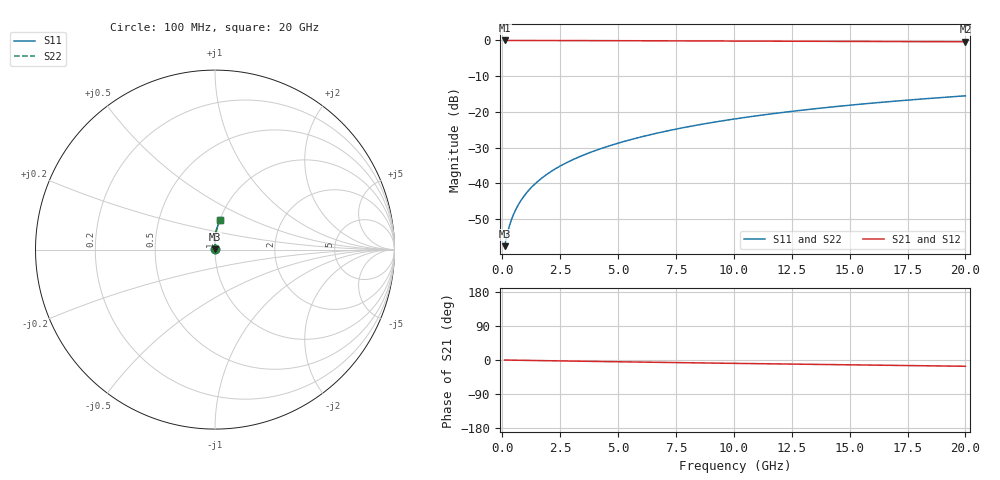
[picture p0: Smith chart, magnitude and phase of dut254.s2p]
! Touchstone file exported from HFSS 2024.1.0
!  File:  C:/UserFiles/LocalFiles/RDL_TSV_Batchsim/temp_RDL_top_254_1778689042.aedt
!  Generated:  12:19:25 AM May 14, 2026
!  Design:  RDL_top
!  Project:  temp_RDL_top_254_1778689042
!  Setup:  Setup1
!  Solution:  Sweep
! Variables:
!  dtsv = 10.80580581um
!  hbump = 3um
!  htsv = 54.81um
!  ldown = 100um
!  lrdl = 221.1um
!  p = 40
!  p1 = 47.4um
!  rhole = 1um
!  t = 450um
!  tdown = 3.915915916um
!  trdl = 3.8um
!  wdown = 15.38538539um
!  wrdl = 24.26um
# GHz S MA R 50.000000
! Terminal data exported
! Port[1] = Box2_T1
! Port[2] = Box2_T2
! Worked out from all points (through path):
!   200 points, 100 MHz to 20 GHz, reference 50 ohm
!   highest |S21| = -0.01 dB at 100 MHz (marker M1); lowest = -0.4 dB at 20 GHz (marker M2)
!   group delay of S21, straight-line fit = 2.27 ps
!   lowest |S11| = -57.6 dB at 100 MHz (marker M3), VSWR 1.00, Z = 50.1 + j0.0773 ohm
!   |S11| at or under -10 dB: start of sweep to end of sweep
!   |S22| runs from -57.6 to -15.5 dB; largest |S21 - S12| = 3.1e-15
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0.1  0.001315 35.9  0.9989 -0.1  0.9989 -0.1  0.001315 35.9
! Gamma 0 0 0 0
! Port Impedance 50 0 50 0
0.2  0.001876 53.2  0.9989 -0.2  0.9989 -0.2  0.001876 53.2
0.3  0.002493 61.8  0.9988 -0.3  0.9988 -0.3  0.002493 61.8
0.4  0.003119 67.1  0.9987 -0.4  0.9987 -0.4  0.003119 67.1
0.5  0.003753 70.8  0.9986 -0.5  0.9986 -0.5  0.003753 70.8
0.6  0.004393 73.6  0.9986 -0.6  0.9986 -0.6  0.004393 73.6
0.8  0.005695 77.5  0.9984 -0.8  0.9984 -0.8  0.005695 77.5
1.1  0.007689 81.2  0.9982 -1.1  0.9982 -1.1  0.007689 81.2
1.3  0.009039 82.8  0.998 -1.3  0.998 -1.3  0.009039 82.8
1.6  0.01109 84.7  0.9977 -1.6  0.9977 -1.6  0.01109 84.7
2.1  0.01457 86.7  0.9971 -2.0  0.9971 -2.0  0.01457 86.7
2.7  0.01886 88.3  0.9962 -2.6  0.9962 -2.6  0.01886 88.3
3.5  0.02476 89.7  0.9947 -3.4  0.9947 -3.4  0.02476 89.7
4.2  0.0301 90.4  0.9932 -4.0  0.9932 -4.0  0.0301 90.4
5  0.03641 90.8  0.9914 -4.7  0.9914 -4.7  0.03641 90.8
5.9  0.04375 90.9  0.9892 -5.5  0.9892 -5.5  0.04375 90.9
6.8  0.05129 90.8  0.987 -6.3  0.987 -6.3  0.0513 90.8
8.4  0.06511 90.1  0.983 -7.6  0.983 -7.6  0.06511 90.1
10.1  0.08013 88.9  0.979 -8.9  0.979 -8.9  0.08013 88.9
13.4  0.1096 85.9  0.9715 -11.5  0.9715 -11.5  0.1096 86.0
16.7  0.1389 82.8  0.9644 -14.1  0.9644 -14.1  0.1389 82.8
20  0.1675 79.7  0.9573 -16.6  0.9573 -16.6  0.1675 79.7
